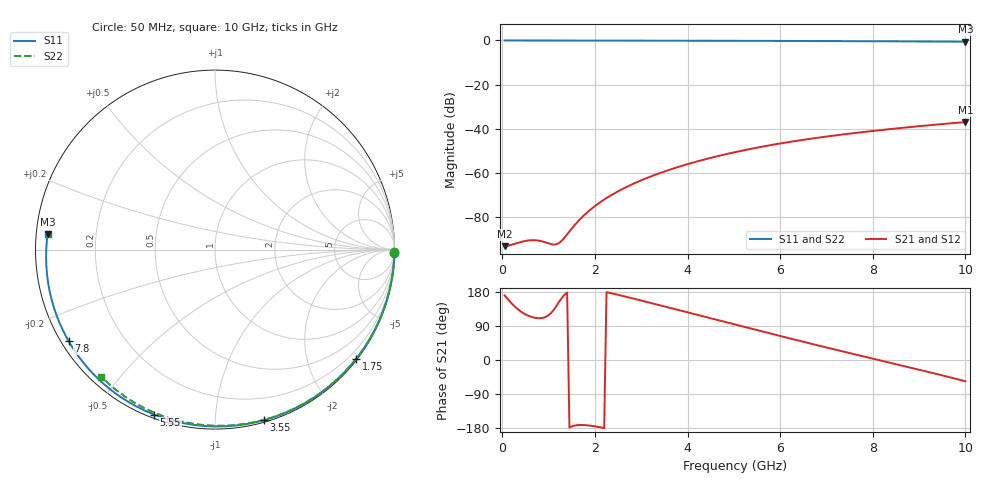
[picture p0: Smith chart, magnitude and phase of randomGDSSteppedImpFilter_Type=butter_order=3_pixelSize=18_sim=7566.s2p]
! freq	dB(S11)	phase(S11)	dB(S12)	phase(S12)
!  dB(S21)	phase(S21)	dB(S22)	phase(S22)
!S-par simulation data
#  GHz  S  DB  R 50
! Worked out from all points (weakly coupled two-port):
!   200 points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, 50 MHz to 10 GHz, reference 50 ohm
!   highest |S21| = -36.93 dB at 10 GHz (marker M1); lowest = -93.0 dB at 50 MHz (marker M2)
!   lowest |S11| = -0.6 dB at 10 GHz (marker M3), VSWR 30.56, Z = 1.64 + j2.3 ohm
!   |S11| at or under -10 dB: nowhere
!   |S22| runs from -0.4 to 0.0 dB; largest |S21 - S12| = 0
!   S11 on the Smith chart (normalised r, x): 50 MHz: open; 1.75 GHz: 0.03, -2.93; 3.55 GHz: 0.02, -1.33; 5.55 GHz: 0.02, -0.70; 7.8 GHz: 0.02, -0.29; 10 GHz: 0.03, +0.05
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0.05  -0.00 -1.1  -93.03 170.4  -93.03 170.4  -0.00 -0.8
0.45  -0.01 -9.9  -90.87 124.0  -90.87 124.0  -0.01 -6.8
0.85  -0.02 -18.6  -90.80 110.7  -90.80 110.7  -0.02 -12.9
1.25  -0.03 -27.2  -91.20 157.8  -91.20 157.8  -0.02 -18.9
1.7  -0.05 -36.7  -80.39 -171.4  -80.39 -171.4  -0.03 -25.5
1.75  -0.05 -37.7  -79.36 -171.5  -79.36 -171.5  -0.03 -26.3
2.05  -0.06 -44.0  -74.12 -176.1  -74.12 -176.1  -0.04 -30.7
2.25  -0.06 -48.1  -71.28 179.0  -71.28 179.0  -0.04 -33.6
2.45  -0.07 -52.2  -68.80 173.5  -68.80 173.5  -0.05 -36.5
2.9  -0.08 -61.2  -64.14 160.0  -64.14 160.0  -0.06 -43.0
3.4  -0.09 -71.0  -59.99 144.5  -59.99 144.5  -0.07 -50.0
3.55  -0.10 -73.9  -58.90 139.8  -58.90 139.8  -0.07 -52.1
4.3  -0.12 -88.0  -54.18 116.3  -54.18 116.3  -0.09 -62.4
5.05  -0.15 -101.5  -50.40 92.9  -50.40 92.9  -0.11 -72.4
5.55  -0.18 -110.3  -48.28 77.3  -48.28 77.3  -0.13 -78.9
6.1  -0.21 -119.7  -46.24 60.3  -46.24 60.3  -0.15 -85.9
6.7  -0.25 -129.8  -44.31 42.0  -44.31 42.0  -0.18 -93.3
7.25  -0.29 -139.0  -42.77 25.6  -42.77 25.6  -0.21 -100.0
7.8  -0.34 -148.1  -41.39 9.5  -41.39 9.5  -0.25 -106.5
8.35  -0.39 -157.2  -40.14 -6.5  -40.14 -6.5  -0.29 -113.0
9.2  -0.48 -171.4  -38.37 -31.5  -38.37 -31.5  -0.36 -122.7
10  -0.57 174.7  -36.93 -56.1  -36.93 -56.1  -0.45 -131.8
